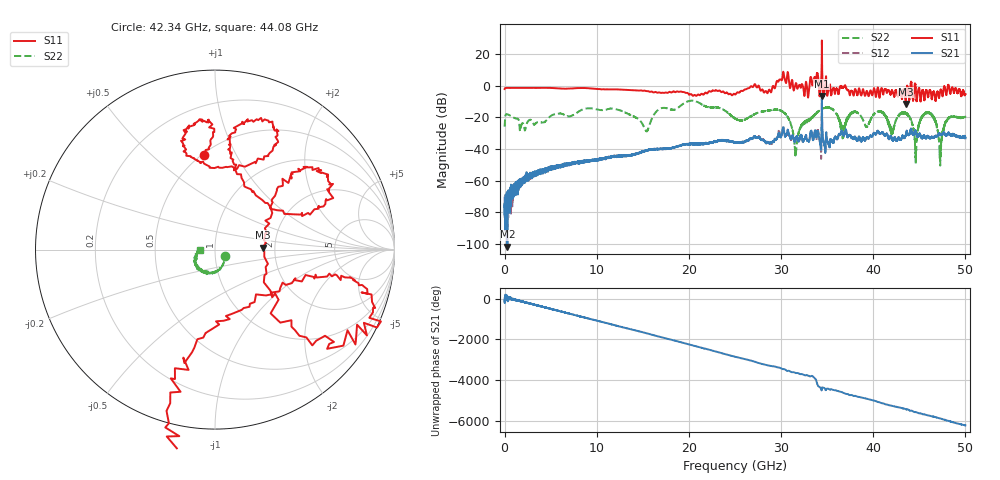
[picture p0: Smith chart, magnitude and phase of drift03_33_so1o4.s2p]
!Created with skrf (http://scikit-rf.org).
# Hz S RI R 50.0
!freq ReS11 ImS11 ReS21 ImS21 ReS12 ImS12 ReS22 ImS22
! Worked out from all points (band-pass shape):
!   10000 points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, 5.3 MHz to 50 GHz, reference 50 ohm
!   highest |S21| = -6.54 dB at 34.43 GHz (marker M1); lowest = -101.7 dB at 300.3 MHz (marker M2)
!   |S21| within 3 dB of the highest: 34.42759 GHz to 34.43532 GHz (7.732 MHz wide, 0.0225 % of centre)
!   lowest |S11| = -11.5 dB at 43.52 GHz (marker M3), VSWR 1.73, Z = 86.2 + j2.11 ohm
!   |S11| at or under -10 dB: 43.49293 GHz to 43.54484 GHz (51.91 MHz wide, 0.119 % of centre); 43.54561 GHz to 43.55178 GHz (6.162 MHz wide, 0.0141 % of centre); 45.13981 GHz to 45.1402 GHz (392.7 kHz wide, 0.00087 % of centre)
!   |S22| runs from -50.5 to -9.4 dB; largest |S21 - S12| = 0.14
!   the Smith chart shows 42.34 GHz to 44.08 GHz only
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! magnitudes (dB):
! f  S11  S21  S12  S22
! 5.3 MHz  -2.1  -76.7  -70.1  -25.9
! 300.3 MHz  -1.4  -101.7  -69.0  -18.1
! 2.3 GHz  -1.3  -57.8  -58.3  -26.4
! 8.34 GHz  -1.5  -48.1  -48.4  -15.3
! 15.39 GHz  -3.4  -40.8  -41.0  -28.8
! 16.67 GHz  -4.4  -40.1  -40.1  -15.3
! 20.45 GHz  -6.5  -37.0  -36.9  -9.5
! 25.01 GHz  -5.5  -35.9  -35.8  -20.8
! 29.96 GHz  3.9  -32.5  -32.3  -15.8
! 31.59 GHz  1.4  -33.8  -34.0  -44.4
! 33.34 GHz  2.6  -30.3  -30.5  -20.2
! 34.43 GHz  28.6  -6.5  -8.6  -14.6
! 36.69 GHz  -1.2  -30.0  -29.8  -26.9
! 37.94 GHz  -4.5  -33.0  -32.9  -16.6
! 41.67 GHz  -3.0  -33.3  -33.5  -23.6
! 43.52 GHz  -11.5  -31.1  -31.4  -17.4
! 44.61 GHz  -1.2  -29.0  -28.9  -42.7
! 45.27 GHz  -3.9  -33.1  -33.2  -20.0
! 46.25 GHz  -4.3  -32.9  -32.9  -17.5
! 47.29 GHz  -3.1  -31.0  -30.8  -44.8
! 48.15 GHz  0.5  -30.0  -29.8  -21.0
! 50 GHz  -5.3  -33.3  -32.7  -19.6
